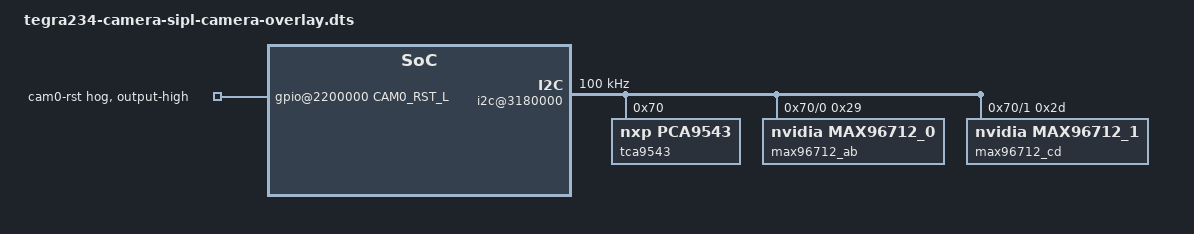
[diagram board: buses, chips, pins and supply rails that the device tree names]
/dts-v1/;
/plugin/;

#include <dt-bindings/clock/tegra234-clock.h>
#include <dt-bindings/gpio/tegra234-gpio.h>
#include <dt-bindings/tegra234-p3737-0000+p3701-0000.h>
/* camera control gpio definitions */
#define CAM0_RST_L		TEGRA234_MAIN_GPIO(H, 3) //tca9543
#define CAM0_PWDN		TEGRA234_MAIN_GPIO(H, 6)
//#define CAM1_RST_L		TEGRA234_MAIN_GPIO(AC, 1)
#define CAM1_PWDN		TEGRA234_MAIN_GPIO(AC, 0)
#define CAMERA_I2C_MUX_BUS(x) (0x1E + x)

/ {
    overlay-name = "Jetson Sensing SG8A-AGON-G2Y-A1 SIPL GMSL2x8";
	jetson-header-name = "Jetson AGX CSI Connector";
	compatible = JETSON_COMPATIBLE;


    fragment@0 {
        target-path = "/bus@0";
        __overlay__ {

            /* ensure camera reset GPIO is asserted so I2C mux powers up */
            gpio@2200000 {
                camera-control-output-high{
                    gpio-hog;
                    output-high;
                    gpios = <CAM0_RST_L 0>;
					label = "cam0-rst";
                    
                };
            };

            i2c@3180000 {
                status = "okay";
                #address-cells = <1>;
                #size-cells = <0>;
                clock-frequency = <100000>;
                tca9543@70 {
                    compatible = "nxp,pca9543";
                    reg = <0x70>;
                    status = "okay";
                    #address-cells = <1>;
                    #size-cells = <0>;
                    skip_mux_detect = "yes";
                    force_bus_start = <CAMERA_I2C_MUX_BUS(0)>;

                    i2c@0 {
                        status = "okay";
						reg = <0>;
						i2c-mux,deselect-on-exit;
						#address-cells = <1>;
						#size-cells = <0>;

                        max96712_ab@29 {
                            compatible = "nvidia,max96712_0";
                            reg = <0x29>;
                            status = "okay";
                        };
                    };

                    i2c@1 {
                        status = "okay";
						reg = <1>;
						i2c-mux,deselect-on-exit;
						#address-cells = <1>;
						#size-cells = <0>;

                        max96712_cd@2d {
                            compatible = "nvidia,max96712_1";
                            reg = <0x2d>;
                            status = "okay";
                        };
                    };
                };
            };
        };
    };
};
